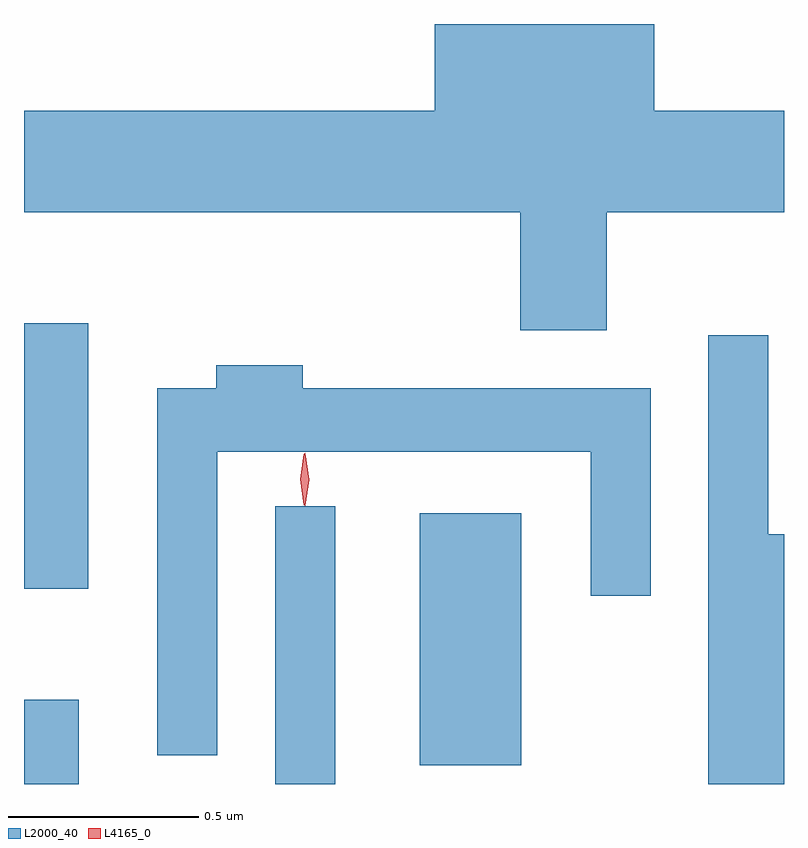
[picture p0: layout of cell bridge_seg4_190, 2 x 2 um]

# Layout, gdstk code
import gdstk
lib = gdstk.Library(unit=1e-6, precision=1e-09)
def R(c, l, rs):  # rectangles x0, y0, x1, y1
    for r in rs: c.add(gdstk.rectangle(r[:2], r[2:], *l))
def P(c, l, *ps):  # polygons
    for p in ps: c.add(gdstk.Polygon(p, *l))
L2000_40 = (2000, 40)
L4165_0 = (4165, 0)

bridge_seg4_190 = lib.new_cell('bridge_seg4_190')
R(bridge_seg4_190, L2000_40, [(983.815,1315.432,983.959,1315.654), (984.476,1315.432,984.634,1316.163), (984.856,1315.481,985.124,1316.144), (983.815,1315.946,983.984,1316.644)])
P(bridge_seg4_190, L2000_40, [(985.349,1316.936),(985.815,1316.936),(985.815,1317.204),(985.474,1317.204),(985.474,1317.432),(984.896,1317.432),(984.896,1317.204),(983.815,1317.204),(983.815,1316.936),(985.121,1316.936),(985.121,1316.626),(985.349,1316.626)],
  [(985.815,1316.089),(985.774,1316.089),(985.774,1316.613),(985.616,1316.613),(985.616,1315.432),(985.815,1315.432)],
  [(984.324,1316.306),(985.306,1316.306),(985.306,1315.928),(985.464,1315.928),(985.464,1316.474),(984.549,1316.474),(984.549,1316.534),(984.321,1316.534),(984.321,1316.474),(984.166,1316.474),(984.166,1315.508),(984.324,1315.508)])
P(bridge_seg4_190, L4165_0, [(984.551,1316.167),(984.542,1316.234),(984.551,1316.3),(984.552,1316.301),(984.552,1316.3),(984.562,1316.234),(984.552,1316.167),(984.552,1316.167)],
  [(984.554,1316.164),(984.545,1316.233),(984.554,1316.302),(984.555,1316.303),(984.555,1316.302),(984.565,1316.233),(984.555,1316.164),(984.555,1316.164)])

lib.write_gds('bridge_seg4_190.gds')
